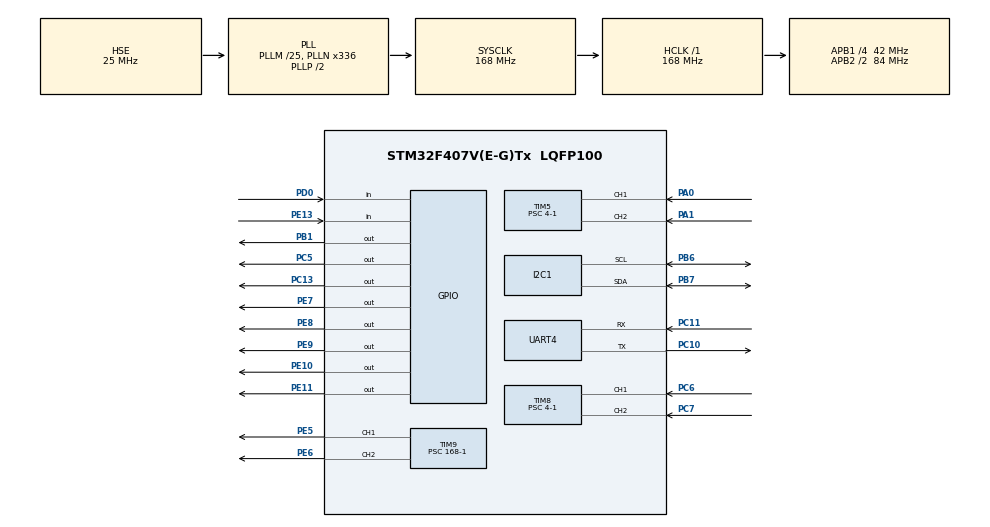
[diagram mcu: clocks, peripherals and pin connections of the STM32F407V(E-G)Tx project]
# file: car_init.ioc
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I2C1.I2C_Mode=I2C_Fast
Mcu.Family=STM32F4
Mcu.Name=STM32F407V(E-G)Tx
Mcu.Package=LQFP100
NVIC.PriorityGroup=NVIC_PRIORITYGROUP_4
NVIC.TIM6_DAC_IRQn=true\:1\:0\:true\:false\:true\:true\:true\:true
PA0-WKUP.Signal=S_TIM5_CH1
PA1.Signal=S_TIM5_CH2
PA13.Mode=Serial_Wire
PA13.Signal=SYS_JTMS-SWDIO
PA14.Mode=Serial_Wire
PA14.Signal=SYS_JTCK-SWCLK
PB1.GPIO_ModeDefaultOutputPP=GPIO_MODE_OUTPUT_PP
PB1.GPIO_PuPd=GPIO_NOPULL
PB1.GPIO_Speed=GPIO_SPEED_FREQ_LOW
PB1.PinState=GPIO_PIN_RESET
PB1.Signal=GPIO_Output
PB6.Mode=I2C
PB6.Signal=I2C1_SCL
PB7.Mode=I2C
PB7.Signal=I2C1_SDA
PC10.Mode=Asynchronous
PC10.Signal=UART4_TX
PC11.Mode=Asynchronous
PC11.Signal=UART4_RX
PC13-ANTI_TAMP.GPIO_ModeDefaultOutputPP=GPIO_MODE_OUTPUT_PP
PC13-ANTI_TAMP.GPIO_PuPd=GPIO_NOPULL
PC13-ANTI_TAMP.GPIO_Speed=GPIO_SPEED_FREQ_LOW
PC13-ANTI_TAMP.PinState=GPIO_PIN_RESET
PC13-ANTI_TAMP.Signal=GPIO_Output
PC5.GPIO_ModeDefaultOutputPP=GPIO_MODE_OUTPUT_PP
PC5.GPIO_PuPd=GPIO_NOPULL
PC5.GPIO_Speed=GPIO_SPEED_FREQ_LOW
PC5.PinState=GPIO_PIN_RESET
PC5.Signal=GPIO_Output
PC6.Signal=S_TIM8_CH1
PC7.Signal=S_TIM8_CH2
PD0.GPIO_PuPd=GPIO_PULLUP
PD0.Signal=GPIO_Input
PE10.GPIO_ModeDefaultOutputPP=GPIO_MODE_OUTPUT_PP
PE10.GPIO_PuPd=GPIO_NOPULL
PE10.GPIO_Speed=GPIO_SPEED_FREQ_LOW
PE10.PinState=GPIO_PIN_RESET
PE10.Signal=GPIO_Output
PE11.Signal=GPIO_Output
PE13.GPIO_PuPd=GPIO_PULLUP
PE13.Signal=GPIO_Input
PE5.Signal=S_TIM9_CH1
PE6.Signal=S_TIM9_CH2
PE7.Signal=GPIO_Output
PE8.GPIO_ModeDefaultOutputPP=GPIO_MODE_OUTPUT_PP
PE8.GPIO_PuPd=GPIO_NOPULL
PE8.GPIO_Speed=GPIO_SPEED_FREQ_LOW
PE8.PinState=GPIO_PIN_RESET
PE8.Signal=GPIO_Output
PE9.Signal=GPIO_Output
PH0-OSC_IN.Mode=HSE-External-Oscillator
PH0-OSC_IN.Signal=RCC_OSC_IN
PH1-OSC_OUT.Mode=HSE-External-Oscillator
PH1-OSC_OUT.Signal=RCC_OSC_OUT
ProjectManager.HeapSize=0x200
ProjectManager.StackSize=0x400
ProjectManager.TargetToolchain=MDK-ARM V5.32
RCC.48MHZClocksFreq_Value=84000000
RCC.AHBFreq_Value=168000000
RCC.APB1CLKDivider=RCC_HCLK_DIV4
RCC.APB1Freq_Value=42000000
RCC.APB1TimFreq_Value=84000000
RCC.APB2CLKDivider=RCC_HCLK_DIV2
RCC.APB2Freq_Value=84000000
RCC.APB2TimFreq_Value=168000000
RCC.CortexFreq_Value=168000000
RCC.HCLKFreq_Value=168000000
RCC.HSE_VALUE=25000000
RCC.HSI_VALUE=16000000
RCC.LSE_VALUE=32768
RCC.PLLM=25
RCC.PLLN=336
RCC.PLLSourceVirtual=RCC_PLLSOURCE_HSE
RCC.SYSCLKFreq_VALUE=168000000
RCC.SYSCLKSource=RCC_SYSCLKSOURCE_PLLCLK
RCC.VCOOutputFreq_Value=336000000
SH.S_TIM5_CH1.0=TIM5_CH1,Encoder_Interface
SH.S_TIM5_CH2.0=TIM5_CH2,Encoder_Interface
SH.S_TIM8_CH1.0=TIM8_CH1,Encoder_Interface
SH.S_TIM8_CH2.0=TIM8_CH2,Encoder_Interface
SH.S_TIM9_CH1.0=TIM9_CH1,PWM Generation1 CH1
SH.S_TIM9_CH2.0=TIM9_CH2,PWM Generation2 CH2
TIM5.AutoReloadPreload=TIM_AUTORELOAD_PRELOAD_ENABLE
TIM5.EncoderMode=TIM_ENCODERMODE_TI12
TIM5.Prescaler=4-1
TIM6.AutoReloadPreload=TIM_AUTORELOAD_PRELOAD_ENABLE
TIM6.Period=10000-1
TIM6.Prescaler=84-1
TIM8.AutoReloadPreload=TIM_AUTORELOAD_PRELOAD_ENABLE
TIM8.EncoderMode=TIM_ENCODERMODE_TI12
TIM8.Prescaler=4-1
TIM9.AutoReloadPreload=TIM_AUTORELOAD_PRELOAD_ENABLE
TIM9.Channel-PWM\ Generation1\ CH1=TIM_CHANNEL_1
TIM9.Channel-PWM\ Generation2\ CH2=TIM_CHANNEL_2
TIM9.Period=100-1
TIM9.Prescaler=168-1
UART4.VirtualMode=Asynchronous
VP_TIM6_VS_ClockSourceINT.Mode=Enable_Timer
VP_TIM9_VS_ClockSourceINT.Mode=Internal
board=custom

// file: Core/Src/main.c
/* USER CODE BEGIN Header */
/**
  ******************************************************************************
  * @file           : main.c
  * @brief          : Main program body
  ******************************************************************************
  * @attention
  *
  * Copyright (c) 2026 STMicroelectronics.
  * All rights reserved.
  *
  * This software is licensed under terms that can be found in the LICENSE file
  * in the root directory of this software component.
  * If no LICENSE file comes with this software, it is provided AS-IS.
  *
  ******************************************************************************
  */
/* USER CODE END Header */
#include "main.h"
#include "i2c.h"
#include "tim.h"
#include "usart.h"
#include "gpio.h"

/* USER CODE BEGIN Includes */
#include "oled.h"
#include "motor.h"
#include "../../Hardware/encoder.h"
#include <stdio.h>
#include <stdlib.h>
#include <string.h>
#include "control.h"
#include "key.h"
#include "jy61p.h"

/* USER CODE END Includes */

void SystemClock_Config(void);

/* USER CODE BEGIN 0 */
static uint32_t last_control_tick = 0;
static uint32_t last_oled_tick = 0;
static char last_oled_lines[4][17] = {0};

static void Format_Float_1(char *line, size_t line_size, const char *name, float value)
{
    int32_t value10 = (int32_t)(value * 10.0f);
    char sign = ' ';

    if (value10 < 0) {
        sign = '-';
        value10 = -value10;
    }

    snprintf(line, line_size, "%s:%c%3ld.%01ld",
             name,
             sign,
             (long)(value10 / 10),
             (long)(value10 % 10));
}

static void OLED_Show_Line_Changed(uint8_t line_index, uint8_t y, const char *text)
{
    char padded[17];

    memset(padded, ' ', 16);
    padded[16] = '\0';
    for (uint8_t i = 0; i < 16 && text[i] != '\0'; i++) {
        padded[i] = text[i];
    }

    if (memcmp(last_oled_lines[line_index], padded, 16) != 0) {
        OLED_ShowLine16(y, padded, &hi2c1);
        memcpy(last_oled_lines[line_index], padded, 17);
    }
}

static void OLED_Show_Gyroscope(void)
{
    char line[17];

    Format_Float_1(line, sizeof(line), "x", fAngle[0]);
    OLED_Show_Line_Changed(0, 0, line);

    Format_Float_1(line, sizeof(line), "y", fAngle[1]);
    OLED_Show_Line_Changed(1, 2, line);

    Format_Float_1(line, sizeof(line), "z", fAngle[2]);
    OLED_Show_Line_Changed(2, 4, line);

    Format_Float_1(line, sizeof(line), "yaw", fYaw);
    OLED_Show_Line_Changed(3, 6, line);
}

/* USER CODE END 0 */

int main(void)
{

  /* MCU Configuration--------------------------------------------------------*/

  /* Reset of all peripherals, Initializes the Flash interface and the Systick. */
  HAL_Init();

  /* Configure the system clock */
  SystemClock_Config();

  /* Initialize all configured peripherals */
  MX_GPIO_Init();
  MX_I2C1_Init();
  MX_TIM9_Init();
  MX_TIM5_Init();
  MX_TIM6_Init();
  MX_TIM8_Init();
  MX_UART4_Init();
  /* USER CODE BEGIN 2 */
	OLED_Init(&hi2c1);
    OLED_Clear(0, &hi2c1);
    memset(last_oled_lines, 0, sizeof(last_oled_lines));
    OLED_ShowString(0, 0, (uint8_t *)"Car Ready", 16, &hi2c1);

    Motor_Init();
    Encoder_Init(&Encoder_L, &htim5);
    Encoder_Init(&Encoder_R, &htim8);
    Control_Init();         // ???????
    Key_Init();             // ?????
    HAL_Delay(200);

    gyroscope_Init();

    last_control_tick = HAL_GetTick();
    last_oled_tick = HAL_GetTick();

    // ????????,????????
    Control_SetMode(MODE_IDLE);
  /* USER CODE END 2 */

  /* Infinite loop */
  /* USER CODE BEGIN WHILE */
  while (1)
  {
     uint32_t now = HAL_GetTick();
    // ???? 10ms (100Hz)
    if ((now - last_control_tick) >= 10U)
    {
        last_control_tick += 10U;
        if ((now - last_control_tick) >= 10U)
        {
            last_control_tick = now;
        }
        Encoder_Update(&Encoder_L);
        Encoder_Update(&Encoder_R);
        Control_Task();     // ??????
    }

    gyroscope_scan();

    // OLED ???? 50ms (20Hz)
    if ((now - last_oled_tick) >= 50U)
    {
        last_oled_tick = now;
        OLED_Show_Gyroscope();
    }

    // ????
    Key_Scan();

    /* USER CODE END WHILE */

  }
}

void SystemClock_Config(void)
{
  RCC_OscInitTypeDef RCC_OscInitStruct = {0};
  RCC_ClkInitTypeDef RCC_ClkInitStruct = {0};

  /** Configure the main internal regulator output voltage
  */
  __HAL_RCC_PWR_CLK_ENABLE();
  __HAL_PWR_VOLTAGESCALING_CONFIG(PWR_REGULATOR_VOLTAGE_SCALE1);

  /** Initializes the RCC Oscillators according to the specified parameters
  * in the RCC_OscInitTypeDef structure.
  */
  RCC_OscInitStruct.OscillatorType = RCC_OSCILLATORTYPE_HSE;
  RCC_OscInitStruct.HSEState = RCC_HSE_ON;
  RCC_OscInitStruct.PLL.PLLState = RCC_PLL_ON;
  RCC_OscInitStruct.PLL.PLLSource = RCC_PLLSOURCE_HSE;
  RCC_OscInitStruct.PLL.PLLM = 25;
  RCC_OscInitStruct.PLL.PLLN = 336;
  RCC_OscInitStruct.PLL.PLLP = RCC_PLLP_DIV2;
  RCC_OscInitStruct.PLL.PLLQ = 4;
  if (HAL_RCC_OscConfig(&RCC_OscInitStruct) != HAL_OK)
  {
    Error_Handler();
  }

  /** Initializes the CPU, AHB and APB buses clocks
  */
  RCC_ClkInitStruct.ClockType = RCC_CLOCKTYPE_HCLK|RCC_CLOCKTYPE_SYSCLK
                              |RCC_CLOCKTYPE_PCLK1|RCC_CLOCKTYPE_PCLK2;
  RCC_ClkInitStruct.SYSCLKSource = RCC_SYSCLKSOURCE_PLLCLK;
  RCC_ClkInitStruct.AHBCLKDivider = RCC_SYSCLK_DIV1;
  RCC_ClkInitStruct.APB1CLKDivider = RCC_HCLK_DIV4;
  RCC_ClkInitStruct.APB2CLKDivider = RCC_HCLK_DIV2;

  if (HAL_RCC_ClockConfig(&RCC_ClkInitStruct, FLASH_LATENCY_5) != HAL_OK)
  {
    Error_Handler();
  }
}

void Error_Handler(void)
{
  __disable_irq();
  while (1)
  {
  }
}
